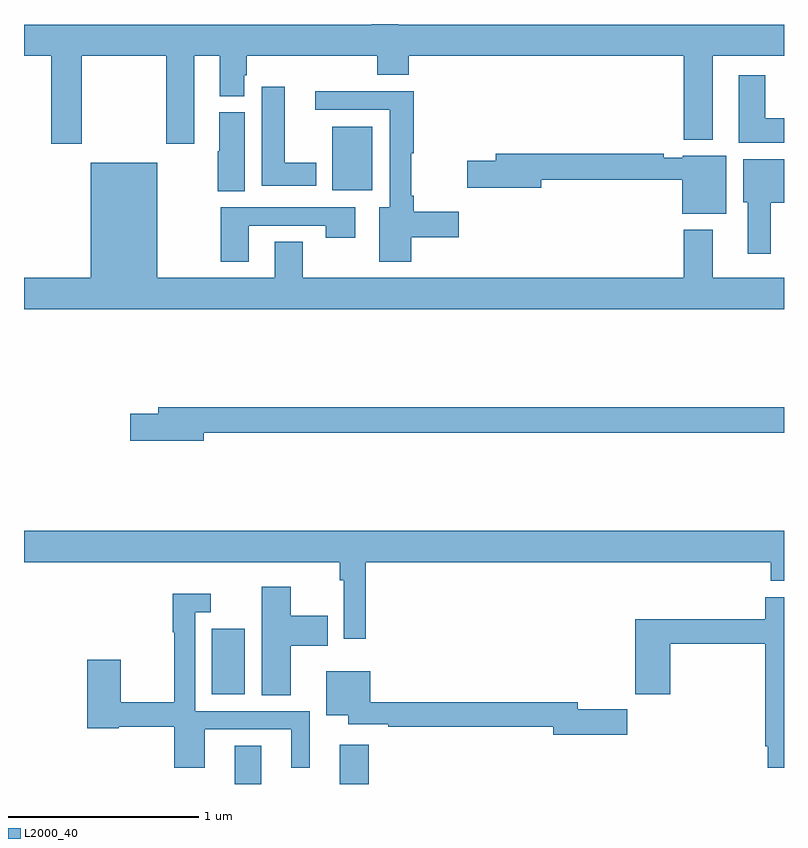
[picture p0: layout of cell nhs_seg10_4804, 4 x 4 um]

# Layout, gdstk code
import gdstk
lib = gdstk.Library(unit=1e-6, precision=1e-09)
def R(c, l, rs):  # rectangles x0, y0, x1, y1
    for r in rs: c.add(gdstk.rectangle(r[:2], r[2:], *l))
def P(c, l, *ps):  # polygons
    for p in ps: c.add(gdstk.Polygon(p, *l))
L2000_40 = (2000, 40)

nhs_seg10_4804 = lib.new_cell('nhs_seg10_4804')
R(nhs_seg10_4804, L2000_40, [(388.109,1280.5,388.249,1280.702), (388.661,1280.5,388.814,1280.707), (387.989,1280.972,388.162,1281.316), (388.622,1283.624,388.834,1283.959)])
P(nhs_seg10_4804, L2000_40, [(388.859,1284.233),(389.024,1284.233),(389.024,1284.332),(390.473,1284.332),(390.473,1283.891),(390.625,1283.891),(390.625,1284.332),(391,1284.332),(391,1284.496),(388.969,1284.496),(388.969,1284.5),(388.83,1284.5),(388.83,1284.496),(387,1284.496),(387,1284.332),(387.143,1284.332),(387.143,1283.871),(387.303,1283.871),(387.303,1284.332),(387.748,1284.332),(387.748,1283.871),(387.895,1283.871),(387.895,1284.332),(388.031,1284.332),(388.031,1284.121),(388.159,1284.121),(388.159,1284.231),(388.172,1284.231),(388.172,1284.332),(388.859,1284.332)],
  [(391,1284.004),(390.901,1284.004),(390.901,1284.229),(390.761,1284.229),(390.761,1283.876),(391,1283.876)],
  [(388.537,1283.77),(388.372,1283.77),(388.372,1284.169),(388.25,1284.169),(388.25,1283.648),(388.537,1283.648)],
  [(389.038,1283.378),(389.287,1283.378),(389.287,1283.513),(389.051,1283.513),(389.051,1283.596),(389.038,1283.596),(389.038,1283.819),(389.051,1283.819),(389.051,1284.146),(388.533,1284.146),(388.533,1284.048),(388.925,1284.048),(388.925,1283.536),(388.871,1283.536),(388.871,1283.25),(389.038,1283.25)],
  [(388.162,1284.036),(388.028,1284.036),(388.028,1283.829),(388.021,1283.829),(388.021,1283.62),(388.162,1283.62)],
  [(390.697,1283.806),(390.468,1283.806),(390.468,1283.796),(390.368,1283.796),(390.368,1283.816),(389.483,1283.816),(389.483,1283.78),(389.334,1283.78),(389.334,1283.638),(389.722,1283.638),(389.722,1283.68),(390.464,1283.68),(390.464,1283.501),(390.697,1283.501)],
  [(390.931,1283.558),(391,1283.558),(391,1283.788),(390.785,1283.788),(390.785,1283.562),(390.809,1283.562),(390.809,1283.292),(390.931,1283.292)],
  [(391,1283.164),(390.625,1283.164),(390.625,1283.416),(390.473,1283.416),(390.473,1283.164),(388.467,1283.164),(388.467,1283.354),(388.319,1283.354),(388.319,1283.164),(387.7,1283.164),(387.7,1283.77),(387.35,1283.77),(387.35,1283.164),(387,1283.164),(387,1283),(391,1283)],
  [(388.183,1283.439),(388.588,1283.439),(388.588,1283.376),(388.744,1283.376),(388.744,1283.535),(388.036,1283.535),(388.036,1283.25),(388.183,1283.25)],
  [(387.946,1282.348),(391,1282.348),(391,1282.484),(387.707,1282.484),(387.707,1282.448),(387.558,1282.448),(387.558,1282.306),(387.946,1282.306)],
  [(388.799,1281.668),(390.929,1281.668),(390.929,1281.569),(391,1281.569),(391,1281.832),(387,1281.832),(387,1281.668),(388.663,1281.668),(388.663,1281.572),(388.683,1281.572),(388.683,1281.264),(388.799,1281.264)],
  [(388.405,1281.227),(388.598,1281.227),(388.598,1281.385),(388.405,1281.385),(388.405,1281.538),(388.25,1281.538),(388.25,1280.968),(388.405,1280.968)],
  [(387.952,1280.787),(388.406,1280.787),(388.406,1280.586),(388.504,1280.586),(388.504,1280.883),(387.9,1280.883),(387.9,1281.405),(387.982,1281.405),(387.982,1281.502),(387.784,1281.502),(387.784,1281.298),(387.792,1281.298),(387.792,1280.93),(387.51,1280.93),(387.51,1281.154),(387.332,1281.154),(387.332,1280.794),(387.498,1280.794),(387.498,1280.802),(387.791,1280.802),(387.791,1280.586),(387.952,1280.586)],
  [(391,1281.482),(390.902,1281.482),(390.902,1281.367),(390.218,1281.367),(390.218,1280.973),(390.401,1280.973),(390.401,1281.238),(390.902,1281.238),(390.902,1280.698),(390.914,1280.698),(390.914,1280.586),(391,1280.586)],
  [(390.175,1280.894),(389.914,1280.894),(389.914,1280.93),(388.822,1280.93),(388.822,1281.094),(388.592,1281.094),(388.592,1280.861),(388.706,1280.861),(388.706,1280.814),(388.918,1280.814),(388.918,1280.802),(389.786,1280.802),(389.786,1280.759),(390.175,1280.759)])

lib.write_gds('nhs_seg10_4804.gds')
